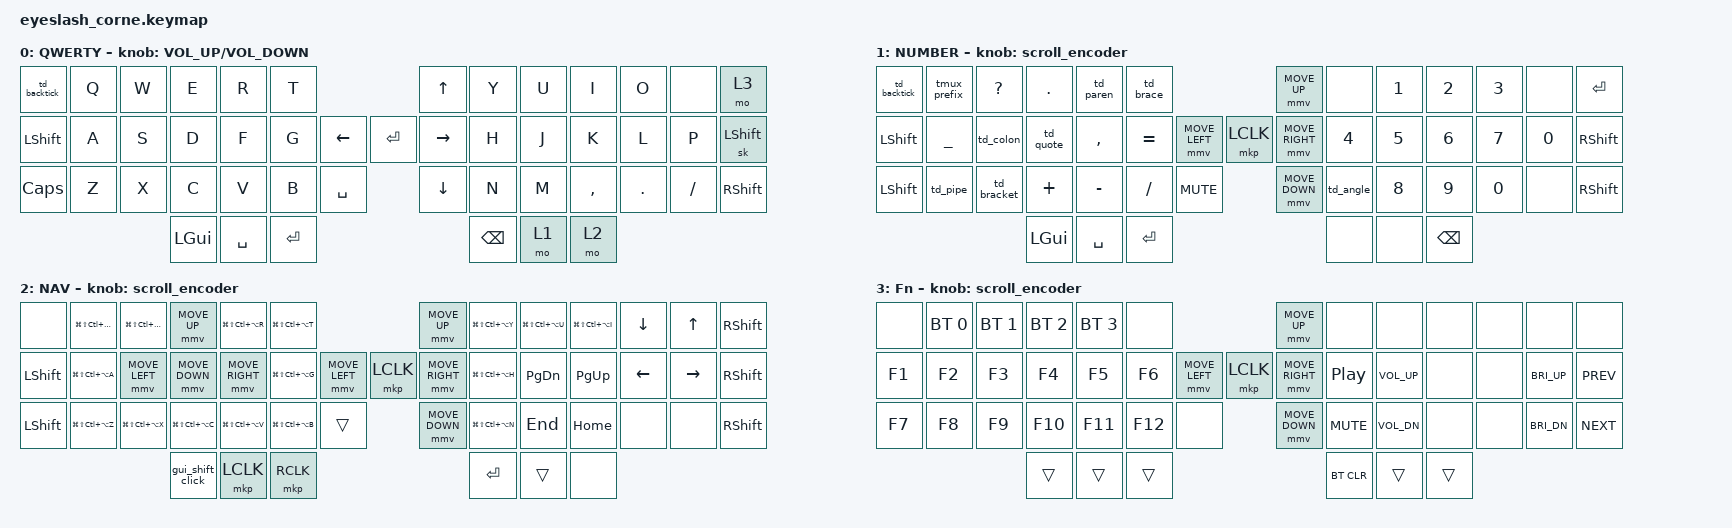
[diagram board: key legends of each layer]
#define ZMK_POINTING_DEFAULT_MOVE_VAL 1500
#define ZMK_POINTING_DEFAULT_SCRL_VAL 25

#include <input/processors.dtsi>
#include <zephyr/dt-bindings/input/input-event-codes.h>
#include <behaviors.dtsi>
#include <dt-bindings/zmk/bt.h>
#include <dt-bindings/zmk/ext_power.h>
#include <dt-bindings/zmk/keys.h>
#include <dt-bindings/zmk/pointing.h>
#include <dt-bindings/zmk/outputs.h>
#include <dt-bindings/zmk/rgb.h>

&mmv_input_listener { input-processors = <&zip_xy_scaler 2 1>; };
&msc_input_listener { input-processors = <&zip_scroll_scaler 2 1>; };

&msc {
    acceleration-exponent = <0>;   // No acceleration for scroll
    time-to-max-speed-ms = <0>;    // Instant
    delay-ms = <0>;
};

&mmv {
    time-to-max-speed-ms = <250>;
    acceleration-exponent = <1>;
    trigger-period-ms = <16>;
};

/ {
    behaviors {
        td_backtick: td_backtick {
            compatible = "zmk,behavior-tap-dance";
            display-name = "Backtick/Tilde";
            #binding-cells = <0>;
            tapping-term-ms = <200>;
            bindings = <&kp GRAVE>, <&kp TILDE>;
        };

        td_colon: td_colon {
            compatible = "zmk,behavior-tap-dance";
            display-name = "Colon/Semicolon";
            #binding-cells = <0>;
            tapping-term-ms = <200>;
            bindings = <&kp COLON>, <&kp SEMI>;
        };

        td_quote: td_quote {
            compatible = "zmk,behavior-tap-dance";
            display-name = "Quote/DoubleQuote";
            #binding-cells = <0>;
            tapping-term-ms = <200>;
            bindings = <&kp SQT>, <&kp DQT>;
        };

        td_pipe: td_pipe {
            compatible = "zmk,behavior-tap-dance";
            display-name = "Pipe/Backslash";
            #binding-cells = <0>;
            tapping-term-ms = <200>;
            bindings = <&kp PIPE>, <&kp BSLH>;
        };

        td_paren: td_paren {
            compatible = "zmk,behavior-tap-dance";
            display-name = "LeftParen/RightParen";
            #binding-cells = <0>;
            tapping-term-ms = <200>;
            bindings = <&kp LPAR>, <&kp RPAR>;
        };

        td_brace: td_brace {
            compatible = "zmk,behavior-tap-dance";
            display-name = "LeftBrace/RightBrace";
            #binding-cells = <0>;
            tapping-term-ms = <200>;
            bindings = <&kp LBRC>, <&kp RBRC>;
        };

        td_bracket: td_bracket {
            compatible = "zmk,behavior-tap-dance";
            display-name = "LeftBracket/RightBracket";
            #binding-cells = <0>;
            tapping-term-ms = <200>;
            bindings = <&kp LBKT>, <&kp RBKT>;
        };

        td_angle: td_angle {
            compatible = "zmk,behavior-tap-dance";
            display-name = "LessThan/GreaterThan";
            #binding-cells = <0>;
            tapping-term-ms = <200>;
            bindings = <&kp LT>, <&kp GT>;
        };

    };

    macros {
        input_switch: input_switch {
            compatible = "zmk,behavior-macro";
            #binding-cells = <0>;
            wait-ms = <50>;
            tap-ms = <50>;
            bindings
                = <&macro_press &kp LCTRL>
                , <&macro_tap &kp SPACE>
                , <&macro_release &kp LCTRL>
                ;
        };

        gui_shift_click: gui_shift_click {
            compatible = "zmk,behavior-macro";
            #binding-cells = <0>;
            wait-ms = <25>;
            tap-ms = <25>;
            bindings
                = <&macro_press &kp LGUI &kp LSHIFT>
                , <&macro_tap &mkp LCLK>
                , <&macro_release &kp LSHIFT &kp LGUI>
                ;
        };

        tmux_prefix: tmux_prefix {
            compatible = "zmk,behavior-macro";
            #binding-cells = <0>;
            wait-ms = <30>;
            tap-ms = <30>;
            bindings = <&macro_tap &kp LC(B)>;
        };
    };

    combos {
        compatible = "zmk,combos";

        // Simple combos
        combo_esc {
            timeout-ms = <50>;
            key-positions = <1 2>;  // Q+W
            bindings = <&kp ESC>;
        };
        combo_tab {
            timeout-ms = <50>;
            key-positions = <30 31>;  // X+C
            bindings = <&kp TAB>;
        };
        combo_shift_tab {
            timeout-ms = <50>;
            key-positions = <29 30>;  // Z+X
            bindings = <&kp LS(TAB)>;
        };

        // Left-hand modifier combos
        combo_left_ctrl {
            timeout-ms = <50>;
            key-positions = <15 16>;  // S+D
            bindings = <&kp LCTRL>;
            slow-release;
        };
        combo_left_alt {
            timeout-ms = <50>;
            key-positions = <16 17>;  // D+F
            bindings = <&kp LALT>;
            slow-release;
        };
        combo_left_gui {
            timeout-ms = <50>;
            key-positions = <17 18>;  // F+G
            bindings = <&kp LGUI>;
            slow-release;
        };

        // Right-hand modifier combos
        combo_cmd {
            timeout-ms = <50>;
            key-positions = <22 23>;  // H+J
            bindings = <&kp LGUI>;
            slow-release;
        };
        combo_opt {
            timeout-ms = <50>;
            key-positions = <23 24>;  // J+K
            bindings = <&kp LALT>;
            slow-release;
        };
        combo_ctrl {
            timeout-ms = <50>;
            key-positions = <24 25>;  // K+L
            bindings = <&kp LCTRL>;
            slow-release;
        };

        // Multi-key modifier combos (left hand)
        combo_left_ctrl_alt {
            timeout-ms = <50>;
            key-positions = <15 16 17>;  // S+D+F
            bindings = <&kp LC(LALT)>;
            slow-release;
        };
        combo_left_gui_ctrl {
            timeout-ms = <50>;
            key-positions = <15 16 18>;  // S+D+G
            bindings = <&kp LG(LCTRL)>;
            slow-release;
        };
        combo_left_gui_alt {
            timeout-ms = <50>;
            key-positions = <16 17 18>;  // D+F+G
            bindings = <&sk LG(LALT)>;  // One-shot
            slow-release;
        };

        // Multi-key modifier combos (right hand)
        combo_cmd_opt {
            timeout-ms = <50>;
            key-positions = <22 23 24>;  // H+J+K
            bindings = <&sk LG(LALT)>;  // One-shot
            slow-release;
        };
        combo_opt_ctrl {
            timeout-ms = <50>;
            key-positions = <23 24 25>;  // J+K+L
            bindings = <&kp LA(LCTRL)>;
            slow-release;
        };
        combo_cmd_ctrl {
            timeout-ms = <50>;
            key-positions = <38 39>;  // ,+.
            bindings = <&kp LG(LCTRL)>;
            slow-release;
        };

        // Navigation arrow combos (U+I and I+O disabled)
        // combo_arrow_left {
        //     timeout-ms = <50>;
        //     key-positions = <8 9>;  // U+I
        //     bindings = <&kp LEFT>;
        // };
        // combo_arrow_right {
        //     timeout-ms = <50>;
        //     key-positions = <9 10>;  // I+O
        //     bindings = <&kp RIGHT>;
        // };
        // U+K and I+L arrow combos removed - UP/DOWN now on K/L in NAV layer

        // Macro combo
        combo_input_switch {
            timeout-ms = <50>;
            key-positions = <4 18>;  // R+G
            bindings = <&input_switch>;
        };
    };

    rgb_encoder: rgb_encoder {
        compatible = "zmk,behavior-sensor-rotate";
        #sensor-binding-cells = <0>;
        bindings = <&rgb_ug RGB_BRI>, <&rgb_ug RGB_BRD>;
    };

    scroll_encoder: scroll_encoder {
        compatible = "zmk,behavior-sensor-rotate";
        #sensor-binding-cells = <0>;
        bindings = <&msc SCRL_DOWN>, <&msc SCRL_UP>;
        tap-ms = <100>;
    };

    keymap {
        compatible = "zmk,keymap";

        default_layer {
            display-name = "QWERTY";
            bindings = <
// Row 0: LEFT (6 keys) + CENTER (1 key) + RIGHT (6 keys)
&td_backtick &kp Q  &kp W  &kp E     &kp R      &kp T                         &kp UP          &kp Y     &kp U     &kp I     &kp O     &none      &mo 3
// Row 1: LEFT (6 keys) + CENTER (3 keys) + RIGHT (6 keys)
&kp LSHIFT   &kp A  &kp S  &kp D     &kp F      &kp G        &kp LEFT  &kp ENTER  &kp RIGHT  &kp H     &kp J     &kp K     &kp L     &kp P      &sk LSHIFT
// Row 2: LEFT (6 keys) + CENTER (2 keys) + RIGHT (6 keys)
&kp CAPS     &kp Z  &kp X  &kp C     &kp V      &kp B        &kp SPACE            &kp DOWN   &kp N     &kp M     &kp COMMA &kp DOT   &kp FSLH   &kp RSHIFT
// Row 3: LEFT thumbs (3 keys) + RIGHT thumbs (3 keys)
                           &kp LGUI  &kp SPACE  &kp ENTER                                     &kp BSPC &mo 1  &mo 2
            >;
            sensor-bindings = <&inc_dec_kp C_VOLUME_UP C_VOLUME_DOWN>;
        };

        lower_layer {
            display-name = "NUMBER";
            bindings = <
// Row 0: LEFT (6 keys) + CENTER (1 key) + RIGHT (6 keys)
&td_backtick     &tmux_prefix   &kp QMARK     &kp DOT       &td_paren     &td_brace                          &mmv MOVE_UP                              &none         &kp N1        &kp N2        &kp N3        &none         &kp ENTER
// Row 1: LEFT (6 keys) + CENTER (3 keys) + RIGHT (6 keys)
&kp LSHIFT       &kp UNDER      &td_colon     &td_quote     &kp COMMA     &kp EQUAL     &mmv MOVE_LEFT  &mkp LCLK      &mmv MOVE_RIGHT  &kp N4        &kp N5        &kp N6        &kp N7        &kp N0        &kp RSHIFT
// Row 2: LEFT (6 keys) + CENTER (2 keys) + RIGHT (6 keys)
&kp LSHIFT       &td_pipe       &td_bracket   &kp PLUS      &kp MINUS     &kp FSLH      &kp C_MUTE                    &mmv MOVE_DOWN              &td_angle     &kp N8        &kp N9        &kp N0        &none         &kp RSHIFT
// Row 3: LEFT thumbs (3 keys) + RIGHT thumbs (3 keys)
                                              &kp LGUI      &kp SPACE     &kp ENTER                                                                  &none         &none         &kp BSPC
            >;
            sensor-bindings = <&scroll_encoder>;
        };

        raise_layer {
            display-name = "NAV";
            bindings = <
// Row 0: LEFT (6 keys) + CENTER (1 key) + RIGHT (6 keys)
&none      &kp LG(LS(LC(LA(Q)))) &kp LG(LS(LC(LA(W)))) &mmv MOVE_UP          &kp LG(LS(LC(LA(R)))) &kp LG(LS(LC(LA(T))))   &mmv MOVE_UP   &kp LG(LS(LC(LA(Y)))) &kp LG(LS(LC(LA(U)))) &kp LG(LS(LC(LA(I)))) &kp DOWN  &kp UP    &kp RSHIFT
// Row 1: LEFT (6 keys) + CENTER (3 keys) + RIGHT (6 keys)
&kp LSHIFT &kp LG(LS(LC(LA(A)))) &mmv MOVE_LEFT &mmv MOVE_DOWN &mmv MOVE_RIGHT &kp LG(LS(LC(LA(G))))  &mmv MOVE_LEFT  &mkp LCLK      &mmv MOVE_RIGHT  &kp LG(LS(LC(LA(H)))) &kp PG_DN &kp PG_UP &kp LEFT  &kp RIGHT &kp RSHIFT
// Row 2: LEFT (6 keys) + CENTER (2 keys) + RIGHT (6 keys)
&kp LSHIFT &kp LG(LS(LC(LA(Z)))) &kp LG(LS(LC(LA(X)))) &kp LG(LS(LC(LA(C)))) &kp LG(LS(LC(LA(V)))) &kp LG(LS(LC(LA(B)))) &trans  &mmv MOVE_DOWN  &kp LG(LS(LC(LA(N)))) &kp END   &kp HOME  &none     &none     &kp RSHIFT
// Row 3: LEFT thumbs (3 keys) + RIGHT thumbs (3 keys)
                                    &gui_shift_click &mkp LCLK  &mkp RCLK                                                              &kp ENTER &trans    &none
            >;
            sensor-bindings = <&scroll_encoder>;
        };

        layer_3 {
            display-name = "Fn";
            bindings = <
// Row 0: LEFT (6 keys) + CENTER (1 key) + RIGHT (6 keys)
&none          &bt BT_SEL 0 &bt BT_SEL 1 &bt BT_SEL 2 &bt BT_SEL 3 &none                           &mmv MOVE_UP                              &none         &none         &none         &none         &none         &none
// Row 1: LEFT (6 keys) + CENTER (3 keys) + RIGHT (6 keys)
&kp F1         &kp F2       &kp F3       &kp F4       &kp F5       &kp F6        &mmv MOVE_LEFT  &mkp LCLK      &mmv MOVE_RIGHT  &kp C_PP      &kp C_VOL_UP  &none         &none         &kp C_BRI_UP  &kp C_PREV
// Row 2: LEFT (6 keys) + CENTER (2 keys) + RIGHT (6 keys)
&kp F7         &kp F8       &kp F9       &kp F10      &kp F11    &kp F12       &none                         &mmv MOVE_DOWN              &kp C_MUTE    &kp C_VOL_DN  &none         &none         &kp C_BRI_DN  &kp C_NEXT
// Row 3: LEFT thumbs (3 keys) + RIGHT thumbs (3 keys)
                                       &trans        &trans     &trans                                                                  &bt BT_CLR    &trans        &trans
            >;
            sensor-bindings = <&scroll_encoder>;
        };
    };
};
